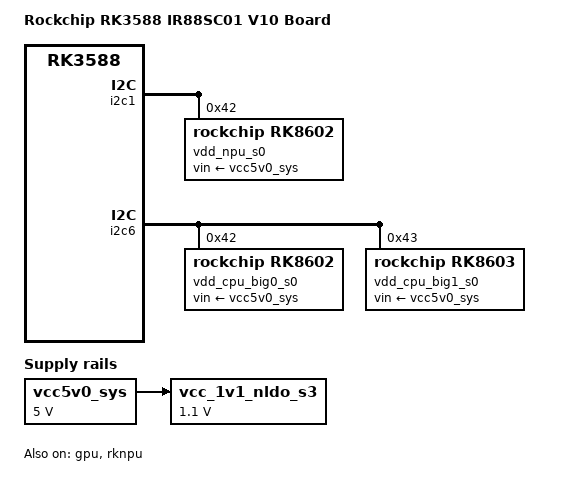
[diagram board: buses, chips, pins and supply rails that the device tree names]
// SPDX-License-Identifier: (GPL-2.0+ OR MIT)

/dts-v1/;

#include "rk3588.dtsi"
#include "rk3588-rk806-single.dtsi"

/ {
	model = "Rockchip RK3588 IR88SC01 V10 Board";
	compatible = "rockchip,rk3588-ir88sc01-v10-linux", "rockchip,rk3588";

	chosen {
		stdout-path = "serial2:1500000n8";
	};

	vcc5v0_sys: vcc5v0-sys {
		compatible = "regulator-fixed";
		regulator-name = "vcc5v0_sys";
		regulator-always-on;
		regulator-boot-on;
		regulator-min-microvolt = <5000000>;
		regulator-max-microvolt = <5000000>;
	};

	vcc_1v1_nldo_s3: vcc-1v1-nldo-s3 {
		compatible = "regulator-fixed";
		regulator-name = "vcc_1v1_nldo_s3";
		regulator-always-on;
		regulator-boot-on;
		regulator-min-microvolt = <1100000>;
		regulator-max-microvolt = <1100000>;
		vin-supply = <&vcc5v0_sys>;
	};
};

&i2c1 {
	status = "okay";

	vdd_npu_s0: rk8602@42 {
		compatible = "rockchip,rk8602";
		reg = <0x42>;
		regulator-always-on;
		regulator-boot-on;
		regulator-compatible = "rk860x-reg";
		regulator-name = "vdd_npu_s0";
		regulator-min-microvolt = <0x86470>;
		regulator-max-microvolt = <0xe7ef0>;
		regulator-ramp-delay = <0x8fc>;
		rockchip,suspend-voltage-selector = <0x01>;
		vin-supply = <&vcc5v0_sys>;

		regulator-state-mem {
			regulator-off-in-suspend;
		};
	};
};

&i2c6 {
	status = "okay";

	vdd_cpu_big0_s0: rk8602@42 {
		compatible = "rockchip,rk8602";
		reg = <0x42>;
		regulator-always-on;
		regulator-boot-on;
		regulator-compatible = "rk860x-reg";
		regulator-name = "vdd_cpu_big0_s0";
		regulator-min-microvolt = <0x86470>;
		regulator-max-microvolt = <0x100590>;
		regulator-ramp-delay = <0x8fc>;
		rockchip,suspend-voltage-selector = <0x01>;
		vin-supply = <&vcc5v0_sys>;

		regulator-state-mem {
			regulator-off-in-suspend;
		};
	};

	vdd_cpu_big1_s0: rk8603@43 {
		compatible = "rockchip,rk8603";
		reg = <0x43>;
		regulator-always-on;
		regulator-boot-on;
		regulator-compatible = "rk860x-reg";
		regulator-name = "vdd_cpu_big1_s0";
		regulator-min-microvolt = <0x86470>;
		regulator-max-microvolt = <0x100590>;
		regulator-ramp-delay = <0x8fc>;
		rockchip,suspend-voltage-selector = <0x01>;
		vin-supply = <&vcc5v0_sys>;

		regulator-state-mem {
			regulator-off-in-suspend;
		};
	};
};

&cpu_l0 {
	cpu-supply = <&vdd_cpu_lit_s0>;
	mem-supply = <&vdd_cpu_lit_s0>;
};

&cpu_b0 {
	cpu-supply = <&vdd_cpu_big0_s0>;
	mem-supply = <&vdd_cpu_big0_s0>;
};

&cpu_b2 {
	cpu-supply = <&vdd_cpu_big1_s0>;
	mem-supply = <&vdd_cpu_big1_s0>;
};

&gpu {
	mali-supply = <&vdd_gpu_s0>;
	mem-supply = <&vdd_gpu_mem_s0>;
	status = "okay";
};

&rknpu {
	rknpu-supply = <&vdd_npu_s0>;
	mem-supply = <&vdd_npu_s0>;
	status = "okay";
};
